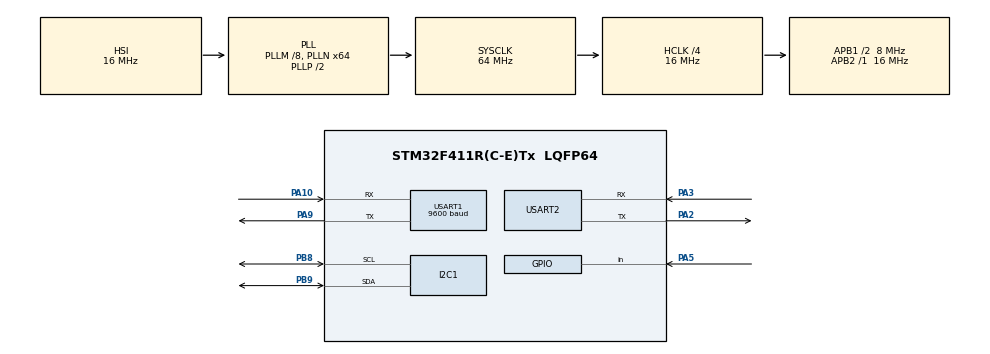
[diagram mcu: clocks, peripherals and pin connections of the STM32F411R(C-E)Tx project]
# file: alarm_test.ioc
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I2C1.I2C_Mode=I2C_Fast
Mcu.Family=STM32F4
Mcu.Name=STM32F411R(C-E)Tx
Mcu.Package=LQFP64
NVIC.PriorityGroup=NVIC_PRIORITYGROUP_0
PA10.Mode=Asynchronous
PA10.Signal=USART1_RX
PA2.Mode=Asynchronous
PA2.Signal=USART2_TX
PA3.Mode=Asynchronous
PA3.Signal=USART2_RX
PA5.GPIO_PuPd=GPIO_PULLUP
PA5.Signal=GPIO_Input
PA9.Mode=Asynchronous
PA9.Signal=USART1_TX
PB8.Mode=I2C
PB8.Signal=I2C1_SCL
PB9.Mode=I2C
PB9.Signal=I2C1_SDA
ProjectManager.HeapSize=0x200
ProjectManager.StackSize=0x400
ProjectManager.TargetToolchain=STM32CubeIDE
RCC.48MHZClocksFreq_Value=32000000
RCC.AHBCLKDivider=RCC_SYSCLK_DIV4
RCC.AHBFreq_Value=16000000
RCC.APB1CLKDivider=RCC_HCLK_DIV2
RCC.APB1Freq_Value=8000000
RCC.APB1TimFreq_Value=16000000
RCC.APB2Freq_Value=16000000
RCC.APB2TimFreq_Value=16000000
RCC.CortexFreq_Value=16000000
RCC.FLatency-AdvancedSettings=FLASH_LATENCY_0
RCC.HCLKFreq_Value=16000000
RCC.HSE_VALUE=8000000
RCC.HSI_VALUE=16000000
RCC.LSE_VALUE=32768
RCC.PLLM=8
RCC.PLLN=64
RCC.SYSCLKFreq_VALUE=64000000
RCC.SYSCLKSource=RCC_SYSCLKSOURCE_PLLCLK
RCC.VCOOutputFreq_Value=128000000
USART1.BaudRate=9600
USART1.VirtualMode=VM_ASYNC
USART2.VirtualMode=VM_ASYNC
board=NUCLEO-F411RE

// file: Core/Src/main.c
/* USER CODE BEGIN Header */
/**
  ******************************************************************************
  * @file           : main.c
  * @brief          : Main program body
  ******************************************************************************
  * @attention
  *
  * Copyright (c) 2025 STMicroelectronics.
  * All rights reserved.
  *
  * This software is licensed under terms that can be found in the LICENSE file
  * in the root directory of this software component.
  * If no LICENSE file comes with this software, it is provided AS-IS.
  *
  ******************************************************************************
  */
/* USER CODE END Header */
#include "main.h"
#include "i2c.h"
#include "usart.h"
#include "gpio.h"

/* USER CODE BEGIN Includes */
#include "i2c_lcd.h"
#include <stdio.h>
#include <string.h>  // For strtok, strstr, strlen
#include <stdlib.h>  // For atoi, atof
/* USER CODE END Includes */

/* USER CODE BEGIN PD */
#define GPS_BUFFER_LEN 128

int __io_putchar(int ch) {
    HAL_UART_Transmit(&huart2, (uint8_t*)&ch, 1, HAL_MAX_DELAY);
    return ch;
}
/* USER CODE END PD */

/* USER CODE BEGIN PV */
uint8_t gps_byte;

char gps_buffer[GPS_BUFFER_LEN];
int gps_index = 0;

// Parsed values
int hours = 0, minutes = 0, seconds = 0;
int day = 0, month = 0, year = 0;
double latitude = 0.0, longitude = 0.0;
char lat_dir = 'N', lon_dir = 'E';
/* USER CODE END PV */

void SystemClock_Config(void);
/* USER CODE BEGIN PFP */
double convertToDecimalDegrees(char *nmea_coord, char dir);
void process_gprmc(char *sentence);
/* USER CODE END PFP */

int main(void)
{

  /* MCU Configuration--------------------------------------------------------*/

  /* Reset of all peripherals, Initializes the Flash interface and the Systick. */
  HAL_Init();

  /* Configure the system clock */
  SystemClock_Config();

  /* Initialize all configured peripherals */
  MX_GPIO_Init();
  MX_USART2_UART_Init();
  MX_I2C1_Init();
  MX_USART1_UART_Init();
  /* USER CODE BEGIN 2 */
  lcd_init();
  /* USER CODE END 2 */

  /* Infinite loop */
  while (1)
  {

    /* USER CODE BEGIN 3 */
	  if (HAL_UART_Receive(&huart1, &gps_byte, 1, 10) == HAL_OK) {
		  if (gps_index < GPS_BUFFER_LEN - 1) {
			  gps_buffer[gps_index++] = gps_byte;
		  }

		  if (gps_byte == '\n') {
			  gps_buffer[gps_index] = '\0';

			  if (strncmp(gps_buffer, "$GPRMC", 6) == 0) {
				  process_gprmc(gps_buffer);
			  }

			  gps_index = 0;
		  }
	  }

//	  // Basic code for reading push buttons via GPIO
//	  if (HAL_GPIO_ReadPin(GPIOA, GPIO_PIN_5) == GPIO_PIN_RESET) {
//	      // Button is pressed (logic 0 because pull-up)
//	      lcd_put_cursor(0, 0);
//	      lcd_send_string("BTN: Pressed     ");
//	  } else {
//	      lcd_put_cursor(0, 0);
//	      lcd_send_string("BTN: Released    ");
//	  }

//	  // Basic code for writing to the LCD
//	  lcd_put_cursor(0,0);
//	  lcd_send_string("Hello World");
//	  lcd_put_cursor(1,0);
//	  lcd_send_string("From STM32NUCLEO");
//	  HAL_Delay(50);
  }

//	  //
//	  if (HAL_UART_Receive(&huart1, &gps_byte, 1, HAL_MAX_DELAY) == HAL_OK) {
//		  printf("%c", gps_byte);
//	  }

  /* USER CODE END 3 */
}

void SystemClock_Config(void)
{
  RCC_OscInitTypeDef RCC_OscInitStruct = {0};
  RCC_ClkInitTypeDef RCC_ClkInitStruct = {0};

  /** Configure the main internal regulator output voltage
  */
  __HAL_RCC_PWR_CLK_ENABLE();
  __HAL_PWR_VOLTAGESCALING_CONFIG(PWR_REGULATOR_VOLTAGE_SCALE1);

  /** Initializes the RCC Oscillators according to the specified parameters
  * in the RCC_OscInitTypeDef structure.
  */
  RCC_OscInitStruct.OscillatorType = RCC_OSCILLATORTYPE_HSI;
  RCC_OscInitStruct.HSIState = RCC_HSI_ON;
  RCC_OscInitStruct.HSICalibrationValue = RCC_HSICALIBRATION_DEFAULT;
  RCC_OscInitStruct.PLL.PLLState = RCC_PLL_ON;
  RCC_OscInitStruct.PLL.PLLSource = RCC_PLLSOURCE_HSI;
  RCC_OscInitStruct.PLL.PLLM = 8;
  RCC_OscInitStruct.PLL.PLLN = 64;
  RCC_OscInitStruct.PLL.PLLP = RCC_PLLP_DIV2;
  RCC_OscInitStruct.PLL.PLLQ = 4;
  if (HAL_RCC_OscConfig(&RCC_OscInitStruct) != HAL_OK)
  {
    Error_Handler();
  }

  /** Initializes the CPU, AHB and APB buses clocks
  */
  RCC_ClkInitStruct.ClockType = RCC_CLOCKTYPE_HCLK|RCC_CLOCKTYPE_SYSCLK
                              |RCC_CLOCKTYPE_PCLK1|RCC_CLOCKTYPE_PCLK2;
  RCC_ClkInitStruct.SYSCLKSource = RCC_SYSCLKSOURCE_PLLCLK;
  RCC_ClkInitStruct.AHBCLKDivider = RCC_SYSCLK_DIV4;
  RCC_ClkInitStruct.APB1CLKDivider = RCC_HCLK_DIV2;
  RCC_ClkInitStruct.APB2CLKDivider = RCC_HCLK_DIV1;

  if (HAL_RCC_ClockConfig(&RCC_ClkInitStruct, FLASH_LATENCY_0) != HAL_OK)
  {
    Error_Handler();
  }
}

/* USER CODE BEGIN 4 */
void process_gprmc(char *sentence){
	int field = 0;
	char *p = sentence;
	char token[32];
	int i = 0;

	char time_str[16] = {0};
	char date_str[16] = {0};

	char lcd_line1[17];  // Assuming 16x2 LCD
	char lcd_line2[17];

	while (*p){
		if (*p == ',' || *p == '\n' || *p == '\r') {
			token[i] = '\0';
			field++;

//			printf("Field %d: %s\r\n", field, token);

			switch (field) {
				case 2:
					strncpy(time_str, token, sizeof(time_str)-1);
					time_str[sizeof(time_str)-1] = '\0';
					break;
				case 10:
					strncpy(date_str, token, sizeof(date_str)-1);
					date_str[sizeof(date_str)-1] = '\0';
					break;
				default: break;
			}

			i = 0;
		} else {
			if (i < sizeof(token) - 1){
				token[i++] = *p;
			}
		}
		// increment pointer
		p++;
	}

	// Parse and print formatted date and time
	if (strlen(time_str) >= 6) {
		int hh = (time_str[0] - '0') * 10 + (time_str[1] - '0');
		int mm = (time_str[2] - '0') * 10 + (time_str[3] - '0');
		int ss = (time_str[4] - '0') * 10 + (time_str[5] - '0');
		printf("Time: %02d:%02d:%02d\r\n", hh, mm, ss);

		sprintf(lcd_line1, "Time: %02d:%02d:%02d", hh, mm, ss);

//		lcd_put_cursor(0, 0);
//		lcd_send_string("                ");  // 16 spaces
		lcd_put_cursor(0,0);
		lcd_send_string(lcd_line1);
	} else {
		printf("Time: Invalid\r\n");

//		lcd_put_cursor(0,0);
//		lcd_send_string("                ");  // 16 spaces
		lcd_put_cursor(0,0);
		lcd_send_string("Time: Invalid");
	}

	if (strlen(date_str) == 6) {
		int dd = (date_str[0] - '0') * 10 + (date_str[1] - '0');
		int mm = (date_str[2] - '0') * 10 + (date_str[3] - '0');
		int yy = (date_str[4] - '0') * 10 + (date_str[5] - '0');
		printf("Date: %02d/%02d/%02d\r\n", mm, dd, yy);

		sprintf(lcd_line2, "Date: %02d/%02d/%02d", mm, dd, yy);

//		lcd_put_cursor(1, 0);
//		lcd_send_string("                ");  // 16 spaces
		lcd_put_cursor(1,0);
		lcd_send_string(lcd_line2);
	} else {
		printf("Date: Invalid\r\n");

//		lcd_put_cursor(1,0);
//		lcd_send_string("                ");  // 16 spaces
		lcd_put_cursor(1,0);
		lcd_send_string("Date: Invalid");
	}

//	printf("Time: %s\r\n", time_str);
//	printf("Date: %s\r\n", date_str);

	printf("----------\r\n");
}

/* USER CODE END 4 */

void Error_Handler(void)
{
  __disable_irq();
  while (1)
  {
  }
}
